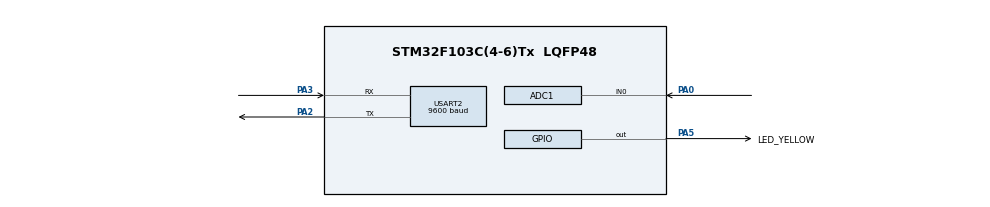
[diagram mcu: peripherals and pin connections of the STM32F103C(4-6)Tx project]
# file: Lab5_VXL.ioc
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ADC1.Channel-1\#ChannelRegularConversion=ADC_CHANNEL_0
ADC1.ContinuousConvMode=ENABLE
ADC1.NbrOfConversionFlag=1
ADC1.Rank-1\#ChannelRegularConversion=1
ADC1.SamplingTime-1\#ChannelRegularConversion=ADC_SAMPLETIME_1CYCLE_5
ADC1.master=1
Mcu.Family=STM32F1
Mcu.Name=STM32F103C(4-6)Tx
Mcu.Package=LQFP48
NVIC.PriorityGroup=NVIC_PRIORITYGROUP_4
NVIC.TIM2_IRQn=true\:0\:0\:false\:false\:true\:true\:true
NVIC.USART2_IRQn=true\:0\:0\:false\:false\:true\:true\:true
PA0-WKUP.Signal=ADCx_IN0
PA2.Mode=Asynchronous
PA2.Signal=USART2_TX
PA3.Mode=Asynchronous
PA3.Signal=USART2_RX
PA5.GPIO_Label=LED_YELLOW
PA5.Signal=GPIO_Output
PA6.Signal=S_TIM3_CH1
ProjectManager.HeapSize=0x200
ProjectManager.StackSize=0x400
ProjectManager.TargetToolchain=STM32CubeIDE
RCC.APB1Freq_Value=8000000
RCC.APB2Freq_Value=8000000
SH.ADCx_IN0.0=ADC1_IN0,IN0
SH.S_TIM3_CH1.0=TIM3_CH1
TIM2.Period=9
TIM2.Prescaler=7999
USART2.BaudRate=9600
USART2.VirtualMode=VM_ASYNC
VP_SYS_VS_ND.Mode=No_Debug
VP_TIM2_VS_ClockSourceINT.Mode=Internal
board=custom

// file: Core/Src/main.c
/* USER CODE BEGIN Header */
/**
  ******************************************************************************
  * @file           : main.c
  * @brief          : Main program body
  ******************************************************************************
  * @attention
  *
  * <h2><center>&copy; Copyright (c) 2024 STMicroelectronics.
  * All rights reserved.</center></h2>
  *
  * This software component is licensed by ST under BSD 3-Clause license,
  * the "License"; You may not use this file except in compliance with the
  * License. You may obtain a copy of the License at:
  *                        opensource.org/licenses/BSD-3-Clause
  *
  ******************************************************************************
  */
/* USER CODE END Header */
#include "main.h"

/* USER CODE BEGIN Includes */
#include "software_timer.h"
#include "fsm.h"
//#include ""
/* USER CODE END Includes */

ADC_HandleTypeDef hadc1;

TIM_HandleTypeDef htim2;

UART_HandleTypeDef huart2;

void SystemClock_Config(void);
static void MX_GPIO_Init(void);
static void MX_ADC1_Init(void);
static void MX_TIM2_Init(void);
static void MX_USART2_UART_Init(void);

/* USER CODE BEGIN 0 */
void HAL_UART_RxCpltCallback(UART_HandleTypeDef *huart){
	HAL_UART_Transmit(&huart2, &temp, 1, 50);
	if(huart -> Instance == USART2 ){
		buffer[index_buffer++] = temp;
		if(index_buffer == MAX_BUFFER_SIZE) index_buffer = 0;
		buffer_flag = 1;
	}
	HAL_UART_Receive_IT(&huart2, &temp, 1);
}

/* USER CODE END 0 */

int main(void)
{

  /* MCU Configuration--------------------------------------------------------*/

  /* Reset of all peripherals, Initializes the Flash interface and the Systick. */
  HAL_Init();

  /* Configure the system clock */
  SystemClock_Config();

  /* Initialize all configured peripherals */
  MX_GPIO_Init();
  MX_ADC1_Init();
  MX_TIM2_Init();
  MX_USART2_UART_Init();
  /* USER CODE BEGIN 2 */
  HAL_GPIO_WritePin(LED_YELLOW_GPIO_Port, LED_YELLOW_Pin, SET);
  HAL_UART_Receive_IT(&huart2 ,&temp,1) ;
  HAL_TIM_Base_Start_IT(&htim2);
  HAL_ADC_Start(&hadc1);
  setTimer1(10);
  setTimer2(20);
  /* USER CODE END 2 */

  /* Infinite loop */
  /* USER CODE BEGIN WHILE */
  while (1)
  {
	  ADC_Value = HAL_ADC_GetValue(&hadc1);
	  if(buffer_flag == 1){
		  command_parser_fsm();
		  buffer_flag = 0;
	  }
	  uart_communication_fsm();
    /* USER CODE END WHILE */

  }
}

void SystemClock_Config(void)
{
  RCC_OscInitTypeDef RCC_OscInitStruct = {0};
  RCC_ClkInitTypeDef RCC_ClkInitStruct = {0};
  RCC_PeriphCLKInitTypeDef PeriphClkInit = {0};

  /** Initializes the RCC Oscillators according to the specified parameters
  * in the RCC_OscInitTypeDef structure.
  */
  RCC_OscInitStruct.OscillatorType = RCC_OSCILLATORTYPE_HSI;
  RCC_OscInitStruct.HSIState = RCC_HSI_ON;
  RCC_OscInitStruct.HSICalibrationValue = RCC_HSICALIBRATION_DEFAULT;
  RCC_OscInitStruct.PLL.PLLState = RCC_PLL_NONE;
  if (HAL_RCC_OscConfig(&RCC_OscInitStruct) != HAL_OK)
  {
    Error_Handler();
  }
  /** Initializes the CPU, AHB and APB buses clocks
  */
  RCC_ClkInitStruct.ClockType = RCC_CLOCKTYPE_HCLK|RCC_CLOCKTYPE_SYSCLK
                              |RCC_CLOCKTYPE_PCLK1|RCC_CLOCKTYPE_PCLK2;
  RCC_ClkInitStruct.SYSCLKSource = RCC_SYSCLKSOURCE_HSI;
  RCC_ClkInitStruct.AHBCLKDivider = RCC_SYSCLK_DIV1;
  RCC_ClkInitStruct.APB1CLKDivider = RCC_HCLK_DIV1;
  RCC_ClkInitStruct.APB2CLKDivider = RCC_HCLK_DIV1;

  if (HAL_RCC_ClockConfig(&RCC_ClkInitStruct, FLASH_LATENCY_0) != HAL_OK)
  {
    Error_Handler();
  }
  PeriphClkInit.PeriphClockSelection = RCC_PERIPHCLK_ADC;
  PeriphClkInit.AdcClockSelection = RCC_ADCPCLK2_DIV2;
  if (HAL_RCCEx_PeriphCLKConfig(&PeriphClkInit) != HAL_OK)
  {
    Error_Handler();
  }
}

static void MX_ADC1_Init(void)
{

  ADC_ChannelConfTypeDef sConfig = {0};

  /** Common config
  */
  hadc1.Instance = ADC1;
  hadc1.Init.ScanConvMode = ADC_SCAN_DISABLE;
  hadc1.Init.ContinuousConvMode = ENABLE;
  hadc1.Init.DiscontinuousConvMode = DISABLE;
  hadc1.Init.ExternalTrigConv = ADC_SOFTWARE_START;
  hadc1.Init.DataAlign = ADC_DATAALIGN_RIGHT;
  hadc1.Init.NbrOfConversion = 1;
  if (HAL_ADC_Init(&hadc1) != HAL_OK)
  {
    Error_Handler();
  }
  /** Configure Regular Channel
  */
  sConfig.Channel = ADC_CHANNEL_0;
  sConfig.Rank = ADC_REGULAR_RANK_1;
  sConfig.SamplingTime = ADC_SAMPLETIME_1CYCLE_5;
  if (HAL_ADC_ConfigChannel(&hadc1, &sConfig) != HAL_OK)
  {
    Error_Handler();
  }

}

static void MX_TIM2_Init(void)
{

  TIM_ClockConfigTypeDef sClockSourceConfig = {0};
  TIM_MasterConfigTypeDef sMasterConfig = {0};

  htim2.Instance = TIM2;
  htim2.Init.Prescaler = 7999;
  htim2.Init.CounterMode = TIM_COUNTERMODE_UP;
  htim2.Init.Period = 9;
  htim2.Init.ClockDivision = TIM_CLOCKDIVISION_DIV1;
  htim2.Init.AutoReloadPreload = TIM_AUTORELOAD_PRELOAD_DISABLE;
  if (HAL_TIM_Base_Init(&htim2) != HAL_OK)
  {
    Error_Handler();
  }
  sClockSourceConfig.ClockSource = TIM_CLOCKSOURCE_INTERNAL;
  if (HAL_TIM_ConfigClockSource(&htim2, &sClockSourceConfig) != HAL_OK)
  {
    Error_Handler();
  }
  sMasterConfig.MasterOutputTrigger = TIM_TRGO_RESET;
  sMasterConfig.MasterSlaveMode = TIM_MASTERSLAVEMODE_DISABLE;
  if (HAL_TIMEx_MasterConfigSynchronization(&htim2, &sMasterConfig) != HAL_OK)
  {
    Error_Handler();
  }

}

static void MX_USART2_UART_Init(void)
{

  huart2.Instance = USART2;
  huart2.Init.BaudRate = 9600;
  huart2.Init.WordLength = UART_WORDLENGTH_8B;
  huart2.Init.StopBits = UART_STOPBITS_1;
  huart2.Init.Parity = UART_PARITY_NONE;
  huart2.Init.Mode = UART_MODE_TX_RX;
  huart2.Init.HwFlowCtl = UART_HWCONTROL_NONE;
  huart2.Init.OverSampling = UART_OVERSAMPLING_16;
  if (HAL_UART_Init(&huart2) != HAL_OK)
  {
    Error_Handler();
  }

}

static void MX_GPIO_Init(void)
{
  GPIO_InitTypeDef GPIO_InitStruct = {0};

  /* GPIO Ports Clock Enable */
  __HAL_RCC_GPIOA_CLK_ENABLE();

  /*Configure GPIO pin Output Level */
  HAL_GPIO_WritePin(LED_YELLOW_GPIO_Port, LED_YELLOW_Pin, GPIO_PIN_RESET);

  /*Configure GPIO pin : LED_YELLOW_Pin */
  GPIO_InitStruct.Pin = LED_YELLOW_Pin;
  GPIO_InitStruct.Mode = GPIO_MODE_OUTPUT_PP;
  GPIO_InitStruct.Pull = GPIO_NOPULL;
  GPIO_InitStruct.Speed = GPIO_SPEED_FREQ_LOW;
  HAL_GPIO_Init(LED_YELLOW_GPIO_Port, &GPIO_InitStruct);

  /*Configure GPIO pin : PA6 */
  GPIO_InitStruct.Pin = GPIO_PIN_6;
  GPIO_InitStruct.Mode = GPIO_MODE_AF_PP;
  GPIO_InitStruct.Speed = GPIO_SPEED_FREQ_LOW;
  HAL_GPIO_Init(GPIOA, &GPIO_InitStruct);

}

/* USER CODE BEGIN 4 */
void HAL_TIM_PeriodElapsedCallback(TIM_HandleTypeDef *htim) {
	timerRun();
}
/* USER CODE END 4 */

void Error_Handler(void)
{
  __disable_irq();
  while (1)
  {
  }
}

/************************ (C) COPYRIGHT STMicroelectronics *****END OF FILE****/
